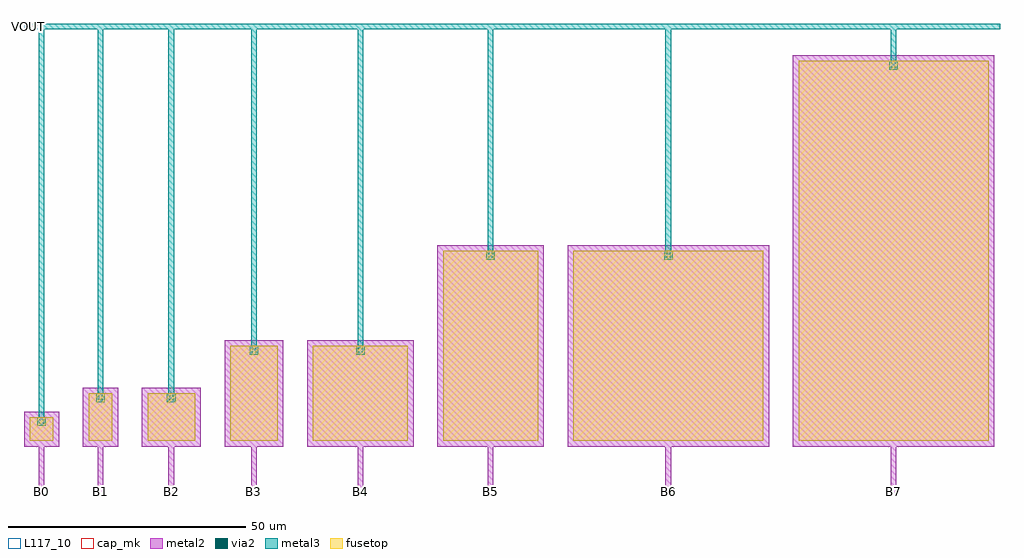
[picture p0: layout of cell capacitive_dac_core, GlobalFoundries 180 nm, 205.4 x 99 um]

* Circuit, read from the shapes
.subckt capacitive_dac_core B0 B1 B2 B3 B4 B5 B6 B7 VOUT
XC1 VOUT B0 cap_mim_2f0fF c_width=5u c_length=5u
XC2 VOUT B1 cap_mim_2f0fF c_width=5u c_length=10u
XC3 VOUT B2 cap_mim_2f0fF c_width=10u c_length=10u
XC4 VOUT B3 cap_mim_2f0fF c_width=10u c_length=20u
XC5 VOUT B4 cap_mim_2f0fF c_width=20u c_length=20u
XC6 VOUT B5 cap_mim_2f0fF c_width=20u c_length=40u
XC7 VOUT B6 cap_mim_2f0fF c_width=40u c_length=40u
XC8 VOUT B7 cap_mim_2f0fF c_width=40u c_length=80u
.ends

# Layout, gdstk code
import gdstk
lib = gdstk.Library(unit=1e-6, precision=1e-09)
def R(c, l, rs):  # rectangles x0, y0, x1, y1
    for r in rs: c.add(gdstk.rectangle(r[:2], r[2:], *l))
metal2 = (36, 0)
via2 = (38, 0)
metal3 = (42, 0)
fusetop = (75, 0)
cap_mk = (117, 5)
L117_10 = (117, 10)

mim_b0_5x5um = lib.new_cell('MIM_B0_5x5UM')
R(mim_b0_5x5um, metal2, [(-1.2,-1.2,6.2,6.2)])
R(mim_b0_5x5um, via2, [(1.99,3.58,2.25,3.84), (2.75,3.58,3.01,3.84), (1.99,4.34,2.25,4.6), (2.75,4.34,3.01,4.6)])
R(mim_b0_5x5um, metal3, [(1.59,3.18,3.41,5)])
R(mim_b0_5x5um, fusetop, [(0,0,5,5)])
R(mim_b0_5x5um, cap_mk, [(0,0,5,5)])
R(mim_b0_5x5um, L117_10, [(0,0,5,5)])

mim_b1_5x10um = lib.new_cell('MIM_B1_5x10UM')
R(mim_b1_5x10um, metal2, [(-1.2,-1.2,6.2,11.2)])
R(mim_b1_5x10um, via2, [(1.99,8.58,2.25,8.84), (2.75,8.58,3.01,8.84), (1.99,9.34,2.25,9.6), (2.75,9.34,3.01,9.6)])
R(mim_b1_5x10um, metal3, [(1.59,8.18,3.41,10)])
R(mim_b1_5x10um, fusetop, [(0,0,5,10)])
R(mim_b1_5x10um, cap_mk, [(0,0,5,10)])
R(mim_b1_5x10um, L117_10, [(0,0,5,10)])

mim_b2_10x10um = lib.new_cell('MIM_B2_10x10UM')
R(mim_b2_10x10um, metal2, [(-1.2,-1.2,11.2,11.2)])
R(mim_b2_10x10um, via2, [(4.49,8.58,4.75,8.84), (5.25,8.58,5.51,8.84), (4.49,9.34,4.75,9.6), (5.25,9.34,5.51,9.6)])
R(mim_b2_10x10um, metal3, [(4.09,8.18,5.91,10)])
R(mim_b2_10x10um, fusetop, [(0,0,10,10)])
R(mim_b2_10x10um, cap_mk, [(0,0,10,10)])
R(mim_b2_10x10um, L117_10, [(0,0,10,10)])

mim_b3_10x20um = lib.new_cell('MIM_B3_10x20UM')
R(mim_b3_10x20um, metal2, [(-1.2,-1.2,11.2,21.2)])
R(mim_b3_10x20um, via2, [(4.49,18.58,4.75,18.84), (5.25,18.58,5.51,18.84), (4.49,19.34,4.75,19.6), (5.25,19.34,5.51,19.6)])
R(mim_b3_10x20um, metal3, [(4.09,18.18,5.91,20)])
R(mim_b3_10x20um, fusetop, [(0,0,10,20)])
R(mim_b3_10x20um, cap_mk, [(0,0,10,20)])
R(mim_b3_10x20um, L117_10, [(0,0,10,20)])

mim_b4_20x20um = lib.new_cell('MIM_B4_20x20UM')
R(mim_b4_20x20um, metal2, [(-1.2,-1.2,21.2,21.2)])
R(mim_b4_20x20um, via2, [(9.49,18.58,9.75,18.84), (10.25,18.58,10.51,18.84), (9.49,19.34,9.75,19.6), (10.25,19.34,10.51,19.6)])
R(mim_b4_20x20um, metal3, [(9.09,18.18,10.91,20)])
R(mim_b4_20x20um, fusetop, [(0,0,20,20)])
R(mim_b4_20x20um, cap_mk, [(0,0,20,20)])
R(mim_b4_20x20um, L117_10, [(0,0,20,20)])

mim_b5_20x40um = lib.new_cell('MIM_B5_20x40UM')
R(mim_b5_20x40um, metal2, [(-1.2,-1.2,21.2,41.2)])
R(mim_b5_20x40um, via2, [(9.49,38.58,9.75,38.84), (10.25,38.58,10.51,38.84), (9.49,39.34,9.75,39.6), (10.25,39.34,10.51,39.6)])
R(mim_b5_20x40um, metal3, [(9.09,38.18,10.91,40)])
R(mim_b5_20x40um, fusetop, [(0,0,20,40)])
R(mim_b5_20x40um, cap_mk, [(0,0,20,40)])
R(mim_b5_20x40um, L117_10, [(0,0,20,40)])

mim_b6_40x40um = lib.new_cell('MIM_B6_40x40UM')
R(mim_b6_40x40um, metal2, [(-1.2,-1.2,41.2,41.2)])
R(mim_b6_40x40um, via2, [(19.49,38.58,19.75,38.84), (20.25,38.58,20.51,38.84), (19.49,39.34,19.75,39.6), (20.25,39.34,20.51,39.6)])
R(mim_b6_40x40um, metal3, [(19.09,38.18,20.91,40)])
R(mim_b6_40x40um, fusetop, [(0,0,40,40)])
R(mim_b6_40x40um, cap_mk, [(0,0,40,40)])
R(mim_b6_40x40um, L117_10, [(0,0,40,40)])

mim_b7_40x80um = lib.new_cell('MIM_B7_40x80UM')
R(mim_b7_40x80um, metal2, [(-1.2,-1.2,41.2,81.2)])
R(mim_b7_40x80um, via2, [(19.49,78.58,19.75,78.84), (20.25,78.58,20.51,78.84), (19.49,79.34,19.75,79.6), (20.25,79.34,20.51,79.6)])
R(mim_b7_40x80um, metal3, [(19.09,78.18,20.91,80)])
R(mim_b7_40x80um, fusetop, [(0,0,40,80)])
R(mim_b7_40x80um, cap_mk, [(0,0,40,80)])
R(mim_b7_40x80um, L117_10, [(0,0,40,80)])

capacitive_dac_core = lib.new_cell('capacitive_dac_core')
R(capacitive_dac_core, metal2, [(3.1,0,4.3,11.2), (15.5,0,16.7,11.2), (30.4,0,31.6,11.2), (47.8,0,49,11.2), (70.2,0,71.4,11.2), (97.6,0,98.8,11.2), (135,0,136.2,11.2), (182.4,0,183.6,11.2)])
R(capacitive_dac_core, metal3, [(3.1,15.29,4.3,99), (15.5,20.29,16.7,99), (30.4,20.29,31.6,99), (47.8,30.29,49,99), (70.2,30.29,71.4,99), (97.6,50.29,98.8,99), (135,50.29,136.2,99), (182.4,90.29,183.6,99), (0,97.8,205.4,99)])
capacitive_dac_core.add(gdstk.Reference(mim_b0_5x5um, (1.2,11.2)))
capacitive_dac_core.add(gdstk.Reference(mim_b1_5x10um, (13.6,11.2)))
capacitive_dac_core.add(gdstk.Reference(mim_b2_10x10um, (26,11.2)))
capacitive_dac_core.add(gdstk.Reference(mim_b3_10x20um, (43.4,11.2)))
capacitive_dac_core.add(gdstk.Reference(mim_b4_20x20um, (60.8,11.2)))
capacitive_dac_core.add(gdstk.Reference(mim_b5_20x40um, (88.2,11.2)))
capacitive_dac_core.add(gdstk.Reference(mim_b6_40x40um, (115.6,11.2)))
capacitive_dac_core.add(gdstk.Reference(mim_b7_40x80um, (163,11.2)))
capacitive_dac_core.add(gdstk.Label('B0', (3.7,0.5), layer=36, texttype=10))
capacitive_dac_core.add(gdstk.Label('B1', (16.1,0.5), layer=36, texttype=10))
capacitive_dac_core.add(gdstk.Label('B2', (31,0.5), layer=36, texttype=10))
capacitive_dac_core.add(gdstk.Label('B3', (48.4,0.5), layer=36, texttype=10))
capacitive_dac_core.add(gdstk.Label('B4', (70.8,0.5), layer=36, texttype=10))
capacitive_dac_core.add(gdstk.Label('B5', (98.2,0.5), layer=36, texttype=10))
capacitive_dac_core.add(gdstk.Label('B6', (135.6,0.5), layer=36, texttype=10))
capacitive_dac_core.add(gdstk.Label('B7', (183,0.5), layer=36, texttype=10))
capacitive_dac_core.add(gdstk.Label('VOUT', (1,98.4), layer=42, texttype=10))

lib.write_gds('capacitive_dac_core.gds')
